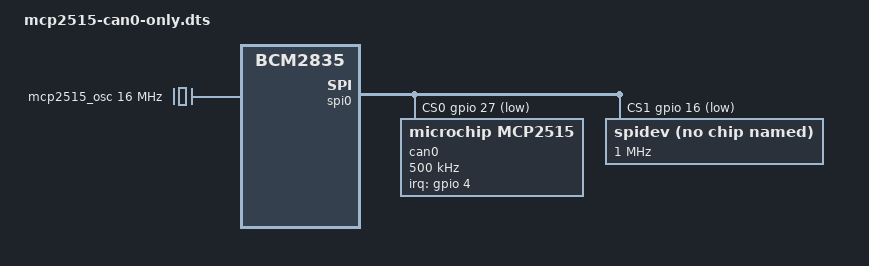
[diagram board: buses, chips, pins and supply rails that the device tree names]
/*
 * Single-chip mcp2515 overlay for the BACKPLANE_HIL PCB.
 *
 *   can0  CS=GPIO27  INT=GPIO4   (U17, labelled CAN1 in hw_config.py)
 *
 * Used for Option A of the broker-migration Phase 4: only the CAN bus
 * wired to the ECUs is moved to the kernel mcp251x driver (for the Rust
 * can-flasher). The other two MCP2515s (CS=GPIO17, CS=GPIO18) stay on
 * the register-level Python driver owned by hil-broker.
 *
 * Slower SPI (500 kHz) than the 3-chip variant to give the kernel
 * driver more timing margin during reset.
 *
 * Supporting firmware-stage config.txt entries required alongside:
 *   gpio=7=op,dl   # assert PS_ON# so PWR_OK is HIGH before probe
 *                  # (SN74LVC125A MISO buffer ~OE is gated by PWR_OK).
 *   gpio=8=ip,pd   # PWR_OK as pulled-down input, not SPI0_CE0 output.
 *
 * Build + install:
 *   dtc -@ -I dts -O dtb -o mcp2515-can0-only.dtbo mcp2515-can0-only.dts
 *   sudo cp mcp2515-can0-only.dtbo /boot/firmware/overlays/
 *   # replace `dtoverlay=spi0-0cs` with `dtoverlay=mcp2515-can0-only`
 *
 * A second spidev node at reg=1 (CS=GPIO16, unused on the PCB) keeps
 * /dev/spidev0.1 available so the register-level Python driver can
 * continue to use `no_cs=True` transfers for the remaining CS pins
 * (DACs, ADCs, NRF, CAN2, CAN3).
 */

/dts-v1/;
/plugin/;

/ {
    compatible = "brcm,bcm2835";

    fragment@0 {
        target-path = "/clocks";
        __overlay__ {
            #address-cells = <1>;
            #size-cells = <0>;

            mcp2515_osc: mcp2515_osc {
                compatible = "fixed-clock";
                #clock-cells = <0>;
                clock-frequency = <16000000>;
            };
        };
    };

    fragment@1 {
        target = <&spi0>;
        __overlay__ {
            #address-cells = <1>;
            #size-cells = <0>;
            status = "okay";

            /* CS 0 = MCP2515 can0; CS 1 = dummy spidev on unused GPIO16 */
            cs-gpios = <&gpio 27 1>, <&gpio 16 1>;

            can0: mcp2515@0 {
                compatible = "microchip,mcp2515";
                reg = <0>;
                spi-max-frequency = <500000>;
                clocks = <&mcp2515_osc>;
                interrupt-parent = <&gpio>;
                interrupts = <4 2>;              /* GPIO4, falling edge */
                status = "okay";
            };

            /* Kept alive so /dev/spidev0.1 exists for the register-level
             * driver (no_cs=True, manual CS via GPIO). */
            spidev@1 {
                compatible = "spidev";
                reg = <1>;
                spi-max-frequency = <1000000>;
                status = "okay";
            };
        };
    };

    fragment@2 {
        target = <&spidev0>;
        __overlay__ {
            status = "disabled";
        };
    };

    fragment@3 {
        target = <&gpio>;
        __overlay__ {
            mcp2515_int_pin: mcp2515_int_pin {
                brcm,pins = <4>;
                brcm,function = <0>;             /* input */
                brcm,pull = <2>;                 /* pull-up */
            };
        };
    };
};
